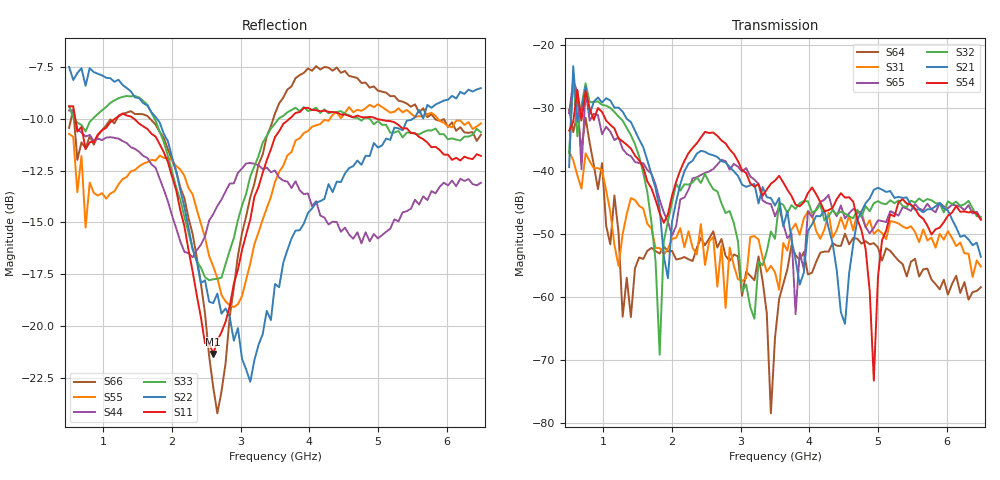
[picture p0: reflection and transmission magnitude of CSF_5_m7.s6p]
!Keysight Technologies,M9804A,MY58100912,A.14.10.03
!Date: Thursday, April 27, 2023 10:28:33
!Correction: S11(C  6-Port  )
!S12(C  6-Port  )
!S13(C  6-Port  )
!S14(C  6-Port  )
!S15(C  6-Port  )
!S16(C  6-Port  )
!S21(C  6-Port  )
!S22(C  6-Port  )
!S23(C  6-Port  )
!S24(C  6-Port  )
!S25(C  6-Port  )
!S26(C  6-Port  )
!S31(C  6-Port  )
!S32(C  6-Port  )
!S33(C  6-Port  )
!S34(C  6-Port  )
!S35(C  6-Port  )
!S36(C  6-Port  )
!S41(C  6-Port  )
!S42(C  6-Port  )
!S43(C  6-Port  )
!S44(C  6-Port  )
!S45(C  6-Port  )
!S46(C  6-Port  )
!S51(C  6-Port  )
!S52(C  6-Port  )
!S53(C  6-Port  )
!S54(C  6-Port  )
!S55(C  6-Port  )
!S56(C  6-Port  )
!S61(C  6-Port  )
!S62(C  6-Port  )
!S63(C  6-Port  )
!S64(C  6-Port  )
!S65(C  6-Port  )
!S66(C  6-Port  )
!S6P File: Measurement: :
# Hz S  RI  R 50
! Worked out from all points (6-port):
!   101 points, 500 MHz to 6.5 GHz, reference 50 ohm
!   strongest paths, dB at 500 MHz, 2 GHz, 3.5 GHz, 5 GHz, 6.5 GHz:
!     S54: -33.6, -43.9, -41.6, -56.9, -47.8
!     S21: -39.4, -48.1, -45.5, -42.7, -53.6
!     S32: -37.2, -45.0, -50.8, -44.8, -47.3
!     S65: -30.9, -50.3, -47.2, -47.8, -47.6
!     S31: -36.9, -50.8, -56.1, -49.3, -55.2
!     S64: -30.4, -52.7, -66.5, -52.1, -58.4
!   lowest |S11| = -21.3 dB at 2.6 GHz (marker M1), VSWR 1.19, Z = 42.4 + j2.17 ohm
!   |S11| at or under -10 dB: 589.6 MHz to 1.167 GHz (577.8 MHz wide, 65.8 % of centre); 1.445 GHz to 3.711 GHz (2.266 GHz wide, 87.9 % of centre); 4.983 GHz to end of sweep
